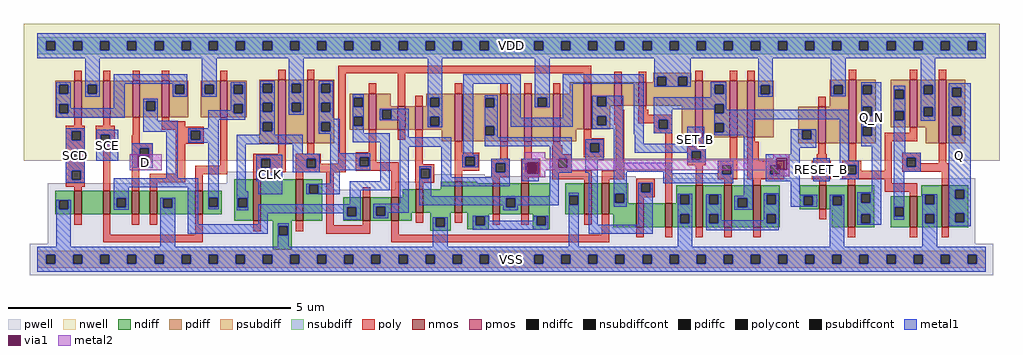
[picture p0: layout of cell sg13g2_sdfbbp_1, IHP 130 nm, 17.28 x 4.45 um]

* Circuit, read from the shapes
.subckt sg13g2_sdfbbp_1 D Q SCD SCE CLK VDD VSS SET_B RESET_B Q_N
XM1 n1 SCD VSS VSS sg13_lv_nmos w=0.42u l=0.13u
XM2 n2 SCE n1 VSS sg13_lv_nmos w=0.42u l=0.13u
XM3 n3 D n2 VSS sg13_lv_nmos w=0.42u l=0.13u
XM4 VSS n4 n3 VSS sg13_lv_nmos w=0.42u l=0.13u
XM5 n4 SCE VSS VSS sg13_lv_nmos w=0.42u l=0.13u
XM6 VSS CLK n5 VSS sg13_lv_nmos w=0.74u l=0.13u
XM7 n6 n5 VSS VSS sg13_lv_nmos w=0.74u l=0.13u
XM8 n7 n5 n2 VSS sg13_lv_nmos w=0.42u l=0.13u
XM9 n8 n6 n7 VSS sg13_lv_nmos w=0.42u l=0.13u
XM10 VSS n9 n8 VSS sg13_lv_nmos w=0.42u l=0.13u
XM11 n10 SET_B VSS VSS sg13_lv_nmos w=0.55u l=0.13u
XM12 n9 n7 n10 VSS sg13_lv_nmos w=0.55u l=0.13u
XM13 n10 n11 n9 VSS sg13_lv_nmos w=0.55u l=0.13u
XM14 n12 n9 VSS VSS sg13_lv_nmos w=0.55u l=0.13u
XM15 n13 n6 n12 VSS sg13_lv_nmos w=0.55u l=0.13u
XM16 n14 n5 n13 VSS sg13_lv_nmos w=0.42u l=0.13u
XM17 VSS n15 n14 VSS sg13_lv_nmos w=0.42u l=0.13u
XM18 n16 SET_B VSS VSS sg13_lv_nmos w=0.74u l=0.13u
XM19 n15 n13 n16 VSS sg13_lv_nmos w=0.74u l=0.13u
XM20 n16 n11 n15 VSS sg13_lv_nmos w=0.74u l=0.13u
XM21 VSS RESET_B n11 VSS sg13_lv_nmos w=0.42u l=0.13u
XM22 Q_N n15 VSS VSS sg13_lv_nmos w=0.74u l=0.13u
XM23 VSS n15 n17 VSS sg13_lv_nmos w=0.55u l=0.13u
XM24 Q n17 VSS VSS sg13_lv_nmos w=0.74u l=0.13u
XM25 VDD SCD n18 VDD sg13_lv_pmos w=0.64u l=0.13u
XM26 n19 SCE VDD VDD sg13_lv_pmos w=0.64u l=0.13u
XM27 n2 D n19 VDD sg13_lv_pmos w=0.64u l=0.13u
XM28 n18 n4 n2 VDD sg13_lv_pmos w=0.64u l=0.13u
XM29 n4 SCE VDD VDD sg13_lv_pmos w=0.64u l=0.13u
XM30 VDD CLK n5 VDD sg13_lv_pmos w=1.12u l=0.13u
XM31 n6 n5 VDD VDD sg13_lv_pmos w=1.12u l=0.13u
XM32 n7 n6 n2 VDD sg13_lv_pmos w=0.64u l=0.13u
XM33 n20 n5 n7 VDD sg13_lv_pmos w=0.42u l=0.13u
XM34 VDD n9 n20 VDD sg13_lv_pmos w=0.42u l=0.13u
XM35 n9 SET_B VDD VDD sg13_lv_pmos w=0.84u l=0.13u
XM36 n21 n7 n9 VDD sg13_lv_pmos w=0.84u l=0.13u
XM37 VDD n11 n21 VDD sg13_lv_pmos w=0.84u l=0.13u
XM38 n22 n9 VDD VDD sg13_lv_pmos w=0.84u l=0.13u
XM39 n13 n5 n22 VDD sg13_lv_pmos w=0.84u l=0.13u
XM40 n23 n6 n13 VDD sg13_lv_pmos w=0.42u l=0.13u
XM41 VDD n15 n23 VDD sg13_lv_pmos w=0.42u l=0.13u
XM42 n15 SET_B VDD VDD sg13_lv_pmos w=1u l=0.13u
XM43 n24 n13 n15 VDD sg13_lv_pmos w=1u l=0.13u
XM44 VDD n11 n24 VDD sg13_lv_pmos w=1u l=0.13u
XM45 VDD RESET_B n11 VDD sg13_lv_pmos w=0.64u l=0.13u
XM46 Q_N n15 VDD VDD sg13_lv_pmos w=1.12u l=0.13u
XM47 VDD n15 n17 VDD sg13_lv_pmos w=0.84u l=0.13u
XM48 Q n17 VDD VDD sg13_lv_pmos w=1.12u l=0.13u
.ends

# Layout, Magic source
magic
tech ihp-sg13g2
magscale 1 2
<< nwell >>
rect -48 350 3408 834
<< pwell >>
rect 672 269 1036 310
rect 1403 295 1585 301
rect 1403 288 2120 295
rect 1403 275 3323 288
rect 38 246 1036 269
rect 1269 246 3323 275
rect 38 56 3323 246
rect -26 -56 3386 56
<< nmos >>
rect 132 159 158 243
rect 234 159 260 243
rect 336 159 362 243
rect 399 159 425 243
rect 560 159 586 243
rect 766 136 792 284
rect 916 136 942 284
rect 1153 136 1179 220
rect 1255 136 1281 220
rect 1341 165 1367 249
rect 1479 165 1505 275
rect 1613 159 1639 269
rect 1715 159 1741 269
rect 1938 159 1964 269
rect 2000 159 2026 269
rect 2122 114 2148 198
rect 2224 114 2250 198
rect 2332 114 2358 262
rect 2434 114 2460 262
rect 2536 114 2562 262
rect 2769 178 2795 262
rect 2871 114 2897 262
rect 3091 114 3117 224
rect 3203 114 3229 262
<< pmos >>
rect 132 504 158 632
rect 234 504 260 632
rect 338 504 364 632
rect 442 504 468 632
rect 648 504 674 632
rect 854 412 880 636
rect 956 412 982 636
rect 1175 459 1201 587
rect 1277 459 1303 543
rect 1339 459 1365 543
rect 1479 419 1505 587
rect 1641 419 1667 587
rect 1725 419 1751 587
rect 1827 419 1853 587
rect 1936 460 1962 628
rect 2044 544 2070 628
rect 2131 544 2157 628
rect 2331 432 2357 632
rect 2453 432 2479 632
rect 2515 432 2541 632
rect 2767 412 2793 540
rect 2875 412 2901 636
rect 3091 468 3117 636
rect 3193 412 3219 636
<< ndiff >>
rect 64 209 132 243
rect 64 177 78 209
rect 110 177 132 209
rect 64 159 132 177
rect 158 159 234 243
rect 260 217 336 243
rect 260 185 282 217
rect 314 185 336 217
rect 260 159 336 185
rect 362 159 399 243
rect 425 215 560 243
rect 425 183 447 215
rect 479 183 560 215
rect 425 159 560 183
rect 586 219 654 243
rect 586 187 608 219
rect 640 187 654 219
rect 586 159 654 187
rect 698 216 766 284
rect 698 184 712 216
rect 744 184 766 216
rect 698 136 766 184
rect 792 136 916 284
rect 942 265 1010 284
rect 942 233 964 265
rect 996 233 1010 265
rect 942 136 1010 233
rect 834 117 902 136
rect 834 85 856 117
rect 888 85 902 117
rect 1429 249 1479 275
rect 1295 220 1341 249
rect 1085 185 1153 220
rect 1085 153 1099 185
rect 1131 153 1153 185
rect 1085 136 1153 153
rect 1179 187 1255 220
rect 1179 155 1201 187
rect 1233 155 1255 187
rect 1179 136 1255 155
rect 1281 165 1341 220
rect 1367 165 1479 249
rect 1505 269 1559 275
rect 1505 165 1613 269
rect 1281 136 1327 165
rect 834 36 902 85
rect 1393 147 1464 165
rect 1393 115 1412 147
rect 1444 115 1464 147
rect 1524 159 1613 165
rect 1639 217 1715 269
rect 1639 185 1661 217
rect 1693 185 1715 217
rect 1639 159 1715 185
rect 1741 159 1815 269
rect 1870 225 1938 269
rect 1870 193 1884 225
rect 1916 193 1938 225
rect 1870 159 1938 193
rect 1964 159 2000 269
rect 2026 232 2094 269
rect 2026 200 2048 232
rect 2080 200 2094 232
rect 2026 198 2094 200
rect 2264 228 2332 262
rect 2264 198 2278 228
rect 2026 159 2122 198
rect 1524 152 1599 159
rect 1393 101 1464 115
rect 1524 120 1553 152
rect 1585 120 1599 152
rect 1755 152 1815 159
rect 1524 106 1599 120
rect 1755 120 1769 152
rect 1801 120 1815 152
rect 1755 106 1815 120
rect 2040 114 2122 159
rect 2148 114 2224 198
rect 2250 196 2278 198
rect 2310 196 2332 228
rect 2250 160 2332 196
rect 2250 128 2278 160
rect 2310 128 2332 160
rect 2250 114 2332 128
rect 2358 228 2434 262
rect 2358 196 2380 228
rect 2412 196 2434 228
rect 2358 160 2434 196
rect 2358 128 2380 160
rect 2412 128 2434 160
rect 2358 114 2434 128
rect 2460 216 2536 262
rect 2460 184 2482 216
rect 2514 184 2536 216
rect 2460 114 2536 184
rect 2562 228 2630 262
rect 2562 196 2584 228
rect 2616 196 2630 228
rect 2562 160 2630 196
rect 2701 224 2769 262
rect 2701 192 2715 224
rect 2747 192 2769 224
rect 2701 178 2769 192
rect 2795 224 2871 262
rect 2795 192 2817 224
rect 2849 192 2871 224
rect 2795 178 2871 192
rect 2562 128 2584 160
rect 2616 128 2630 160
rect 2562 114 2630 128
rect 2814 114 2871 178
rect 2897 233 2965 262
rect 2897 201 2919 233
rect 2951 201 2965 233
rect 3131 228 3203 262
rect 3131 224 3145 228
rect 2897 160 2965 201
rect 2897 128 2919 160
rect 2951 128 2965 160
rect 2897 114 2965 128
rect 3023 185 3091 224
rect 3023 153 3037 185
rect 3069 153 3091 185
rect 3023 114 3091 153
rect 3117 196 3145 224
rect 3177 196 3203 228
rect 3117 160 3203 196
rect 3117 128 3145 160
rect 3177 128 3203 160
rect 3117 114 3203 128
rect 3229 246 3297 262
rect 3229 214 3251 246
rect 3283 214 3297 246
rect 3229 163 3297 214
rect 3229 131 3251 163
rect 3283 131 3297 163
rect 3229 114 3297 131
<< pdiff >>
rect 64 618 132 632
rect 64 586 78 618
rect 110 586 132 618
rect 64 550 132 586
rect 64 518 78 550
rect 110 518 132 550
rect 64 504 132 518
rect 158 618 234 632
rect 158 586 180 618
rect 212 586 234 618
rect 158 504 234 586
rect 260 504 338 632
rect 364 559 442 632
rect 364 527 386 559
rect 418 527 442 559
rect 364 504 442 527
rect 468 618 536 632
rect 468 586 490 618
rect 522 586 536 618
rect 468 504 536 586
rect 580 618 648 632
rect 580 586 594 618
rect 626 586 648 618
rect 580 504 648 586
rect 674 618 742 632
rect 674 586 696 618
rect 728 586 742 618
rect 674 550 742 586
rect 674 518 696 550
rect 728 518 742 550
rect 674 504 742 518
rect 786 622 854 636
rect 786 590 800 622
rect 832 590 854 622
rect 786 554 854 590
rect 786 522 800 554
rect 832 522 854 554
rect 786 486 854 522
rect 786 454 800 486
rect 832 454 854 486
rect 786 412 854 454
rect 880 622 956 636
rect 880 590 902 622
rect 934 590 956 622
rect 880 554 956 590
rect 880 522 902 554
rect 934 522 956 554
rect 880 412 956 522
rect 982 622 1053 636
rect 982 590 1007 622
rect 1039 590 1053 622
rect 982 554 1053 590
rect 982 522 1007 554
rect 1039 522 1053 554
rect 982 486 1053 522
rect 982 454 1007 486
rect 1039 454 1053 486
rect 982 412 1053 454
rect 1107 573 1175 587
rect 1107 541 1121 573
rect 1153 541 1175 573
rect 1107 505 1175 541
rect 1107 473 1121 505
rect 1153 473 1175 505
rect 1107 459 1175 473
rect 1201 543 1252 587
rect 2182 646 2317 660
rect 2182 628 2196 646
rect 1886 587 1936 628
rect 1379 573 1479 587
rect 1379 543 1393 573
rect 1201 529 1277 543
rect 1201 497 1223 529
rect 1255 497 1277 529
rect 1201 459 1277 497
rect 1303 459 1339 543
rect 1365 541 1393 543
rect 1425 541 1479 573
rect 1365 505 1479 541
rect 1365 473 1393 505
rect 1425 473 1479 505
rect 1365 459 1479 473
rect 1433 419 1479 459
rect 1505 570 1641 587
rect 1505 538 1587 570
rect 1619 538 1641 570
rect 1505 471 1641 538
rect 1505 439 1587 471
rect 1619 439 1641 471
rect 1505 419 1641 439
rect 1667 419 1725 587
rect 1751 573 1827 587
rect 1751 541 1773 573
rect 1805 541 1827 573
rect 1751 419 1827 541
rect 1853 460 1936 587
rect 1962 575 2044 628
rect 1962 543 1984 575
rect 2016 544 2044 575
rect 2070 544 2131 628
rect 2157 614 2196 628
rect 2228 614 2271 646
rect 2303 632 2317 646
rect 2303 614 2331 632
rect 2157 544 2331 614
rect 2016 543 2030 544
rect 1962 506 2030 543
rect 1962 474 1984 506
rect 2016 474 2030 506
rect 1962 460 2030 474
rect 1853 419 1910 460
rect 2282 432 2331 544
rect 2357 618 2453 632
rect 2357 586 2399 618
rect 2431 586 2453 618
rect 2357 550 2453 586
rect 2357 518 2399 550
rect 2431 518 2453 550
rect 2357 482 2453 518
rect 2357 450 2399 482
rect 2431 450 2453 482
rect 2357 432 2453 450
rect 2479 432 2515 632
rect 2541 616 2609 632
rect 2541 584 2563 616
rect 2595 584 2609 616
rect 2541 432 2609 584
rect 2807 617 2875 636
rect 2807 585 2821 617
rect 2853 585 2875 617
rect 2807 540 2875 585
rect 2695 458 2767 540
rect 2695 426 2709 458
rect 2741 426 2767 458
rect 2695 412 2767 426
rect 2793 412 2875 540
rect 2901 617 2969 636
rect 2901 585 2923 617
rect 2955 585 2969 617
rect 2901 540 2969 585
rect 2901 508 2923 540
rect 2955 508 2969 540
rect 2901 469 2969 508
rect 2901 437 2923 469
rect 2955 437 2969 469
rect 3023 601 3091 636
rect 3023 569 3037 601
rect 3069 569 3091 601
rect 3023 524 3091 569
rect 3023 492 3037 524
rect 3069 492 3091 524
rect 3023 468 3091 492
rect 3117 617 3193 636
rect 3117 585 3139 617
rect 3171 585 3193 617
rect 3117 538 3193 585
rect 3117 506 3139 538
rect 3171 506 3193 538
rect 3117 468 3193 506
rect 2901 412 2969 437
rect 3147 412 3193 468
rect 3219 608 3287 636
rect 3219 576 3241 608
rect 3273 576 3287 608
rect 3219 540 3287 576
rect 3219 508 3241 540
rect 3273 508 3287 540
rect 3219 472 3287 508
rect 3219 440 3241 472
rect 3273 440 3287 472
rect 3219 412 3287 440
<< ndiffc >>
rect 78 177 110 209
rect 282 185 314 217
rect 447 183 479 215
rect 608 187 640 219
rect 712 184 744 216
rect 964 233 996 265
rect 856 85 888 117
rect 1099 153 1131 185
rect 1201 155 1233 187
rect 1412 115 1444 147
rect 1661 185 1693 217
rect 1884 193 1916 225
rect 2048 200 2080 232
rect 1553 120 1585 152
rect 1769 120 1801 152
rect 2278 196 2310 228
rect 2278 128 2310 160
rect 2380 196 2412 228
rect 2380 128 2412 160
rect 2482 184 2514 216
rect 2584 196 2616 228
rect 2715 192 2747 224
rect 2817 192 2849 224
rect 2584 128 2616 160
rect 2919 201 2951 233
rect 2919 128 2951 160
rect 3037 153 3069 185
rect 3145 196 3177 228
rect 3145 128 3177 160
rect 3251 214 3283 246
rect 3251 131 3283 163
<< pdiffc >>
rect 78 586 110 618
rect 78 518 110 550
rect 180 586 212 618
rect 386 527 418 559
rect 490 586 522 618
rect 594 586 626 618
rect 696 586 728 618
rect 696 518 728 550
rect 800 590 832 622
rect 800 522 832 554
rect 800 454 832 486
rect 902 590 934 622
rect 902 522 934 554
rect 1007 590 1039 622
rect 1007 522 1039 554
rect 1007 454 1039 486
rect 1121 541 1153 573
rect 1121 473 1153 505
rect 1223 497 1255 529
rect 1393 541 1425 573
rect 1393 473 1425 505
rect 1587 538 1619 570
rect 1587 439 1619 471
rect 1773 541 1805 573
rect 1984 543 2016 575
rect 2196 614 2228 646
rect 2271 614 2303 646
rect 1984 474 2016 506
rect 2399 586 2431 618
rect 2399 518 2431 550
rect 2399 450 2431 482
rect 2563 584 2595 616
rect 2821 585 2853 617
rect 2709 426 2741 458
rect 2923 585 2955 617
rect 2923 508 2955 540
rect 2923 437 2955 469
rect 3037 569 3069 601
rect 3037 492 3069 524
rect 3139 585 3171 617
rect 3139 506 3171 538
rect 3241 576 3273 608
rect 3241 508 3273 540
rect 3241 440 3273 472
<< psubdiff >>
rect 834 30 902 36
rect 0 16 3360 30
rect 0 -16 32 16
rect 64 -16 128 16
rect 160 -16 224 16
rect 256 -16 320 16
rect 352 -16 416 16
rect 448 -16 512 16
rect 544 -16 608 16
rect 640 -16 704 16
rect 736 -16 800 16
rect 832 -16 896 16
rect 928 -16 992 16
rect 1024 -16 1088 16
rect 1120 -16 1184 16
rect 1216 -16 1280 16
rect 1312 -16 1376 16
rect 1408 -16 1472 16
rect 1504 -16 1568 16
rect 1600 -16 1664 16
rect 1696 -16 1760 16
rect 1792 -16 1856 16
rect 1888 -16 1952 16
rect 1984 -16 2048 16
rect 2080 -16 2144 16
rect 2176 -16 2240 16
rect 2272 -16 2336 16
rect 2368 -16 2432 16
rect 2464 -16 2528 16
rect 2560 -16 2624 16
rect 2656 -16 2720 16
rect 2752 -16 2816 16
rect 2848 -16 2912 16
rect 2944 -16 3008 16
rect 3040 -16 3104 16
rect 3136 -16 3200 16
rect 3232 -16 3296 16
rect 3328 -16 3360 16
rect 0 -30 3360 -16
<< nsubdiff >>
rect 0 772 3360 786
rect 0 740 32 772
rect 64 740 128 772
rect 160 740 224 772
rect 256 740 320 772
rect 352 740 416 772
rect 448 740 512 772
rect 544 740 608 772
rect 640 740 704 772
rect 736 740 800 772
rect 832 740 896 772
rect 928 740 992 772
rect 1024 740 1088 772
rect 1120 740 1184 772
rect 1216 740 1280 772
rect 1312 740 1376 772
rect 1408 740 1472 772
rect 1504 740 1568 772
rect 1600 740 1664 772
rect 1696 740 1760 772
rect 1792 740 1856 772
rect 1888 740 1952 772
rect 1984 740 2048 772
rect 2080 740 2144 772
rect 2176 740 2240 772
rect 2272 740 2336 772
rect 2368 740 2432 772
rect 2464 740 2528 772
rect 2560 740 2624 772
rect 2656 740 2720 772
rect 2752 740 2816 772
rect 2848 740 2912 772
rect 2944 740 3008 772
rect 3040 740 3104 772
rect 3136 740 3200 772
rect 3232 740 3296 772
rect 3328 740 3360 772
rect 0 726 3360 740
<< psubdiffcont >>
rect 32 -16 64 16
rect 128 -16 160 16
rect 224 -16 256 16
rect 320 -16 352 16
rect 416 -16 448 16
rect 512 -16 544 16
rect 608 -16 640 16
rect 704 -16 736 16
rect 800 -16 832 16
rect 896 -16 928 16
rect 992 -16 1024 16
rect 1088 -16 1120 16
rect 1184 -16 1216 16
rect 1280 -16 1312 16
rect 1376 -16 1408 16
rect 1472 -16 1504 16
rect 1568 -16 1600 16
rect 1664 -16 1696 16
rect 1760 -16 1792 16
rect 1856 -16 1888 16
rect 1952 -16 1984 16
rect 2048 -16 2080 16
rect 2144 -16 2176 16
rect 2240 -16 2272 16
rect 2336 -16 2368 16
rect 2432 -16 2464 16
rect 2528 -16 2560 16
rect 2624 -16 2656 16
rect 2720 -16 2752 16
rect 2816 -16 2848 16
rect 2912 -16 2944 16
rect 3008 -16 3040 16
rect 3104 -16 3136 16
rect 3200 -16 3232 16
rect 3296 -16 3328 16
<< nsubdiffcont >>
rect 32 740 64 772
rect 128 740 160 772
rect 224 740 256 772
rect 320 740 352 772
rect 416 740 448 772
rect 512 740 544 772
rect 608 740 640 772
rect 704 740 736 772
rect 800 740 832 772
rect 896 740 928 772
rect 992 740 1024 772
rect 1088 740 1120 772
rect 1184 740 1216 772
rect 1280 740 1312 772
rect 1376 740 1408 772
rect 1472 740 1504 772
rect 1568 740 1600 772
rect 1664 740 1696 772
rect 1760 740 1792 772
rect 1856 740 1888 772
rect 1952 740 1984 772
rect 2048 740 2080 772
rect 2144 740 2176 772
rect 2240 740 2272 772
rect 2336 740 2368 772
rect 2432 740 2464 772
rect 2528 740 2560 772
rect 2624 740 2656 772
rect 2720 740 2752 772
rect 2816 740 2848 772
rect 2912 740 2944 772
rect 3008 740 3040 772
rect 3104 740 3136 772
rect 3200 740 3232 772
rect 3296 740 3328 772
<< poly >>
rect 132 632 158 668
rect 234 632 260 668
rect 338 632 364 668
rect 442 632 468 668
rect 648 632 674 668
rect 854 636 880 672
rect 956 636 982 672
rect 1067 659 1962 685
rect 132 473 158 504
rect 234 473 260 504
rect 102 454 168 473
rect 102 422 122 454
rect 154 422 168 454
rect 102 384 168 422
rect 207 442 275 473
rect 207 410 225 442
rect 257 410 275 442
rect 338 440 364 504
rect 442 489 468 504
rect 442 469 524 489
rect 442 459 591 469
rect 207 393 275 410
rect 336 411 364 440
rect 491 455 591 459
rect 491 423 545 455
rect 577 423 591 455
rect 336 394 410 411
rect 102 352 122 384
rect 154 352 168 384
rect 102 314 168 352
rect 102 282 122 314
rect 154 282 168 314
rect 102 257 168 282
rect 132 243 158 257
rect 234 243 260 393
rect 336 362 363 394
rect 395 362 410 394
rect 336 345 410 362
rect 491 409 591 423
rect 336 243 362 345
rect 491 303 524 409
rect 648 331 674 504
rect 854 374 880 412
rect 956 374 982 412
rect 399 273 524 303
rect 560 301 674 331
rect 766 357 880 374
rect 766 325 794 357
rect 826 325 880 357
rect 766 308 880 325
rect 916 357 1004 374
rect 916 325 955 357
rect 987 338 1004 357
rect 1067 338 1093 659
rect 1175 587 1201 623
rect 1277 543 1303 659
rect 1936 628 1962 659
rect 2044 628 2070 664
rect 2131 628 2157 664
rect 1479 587 1505 623
rect 1641 587 1667 623
rect 1725 587 1751 623
rect 1827 587 1853 623
rect 1339 543 1365 579
rect 1175 379 1201 459
rect 1277 423 1303 459
rect 987 325 1093 338
rect 916 308 1093 325
rect 1129 362 1201 379
rect 1129 330 1143 362
rect 1175 343 1201 362
rect 1175 330 1281 343
rect 1129 313 1281 330
rect 399 243 425 273
rect 560 243 586 301
rect 766 284 792 308
rect 916 284 942 308
rect 132 123 158 159
rect 234 87 260 159
rect 336 123 362 159
rect 399 123 425 159
rect 560 87 586 159
rect 766 100 792 136
rect 234 61 586 87
rect 916 100 942 136
rect 1024 121 1050 308
rect 1153 220 1179 256
rect 1255 220 1281 313
rect 1339 337 1365 459
rect 2331 632 2357 668
rect 2453 632 2479 668
rect 2515 632 2541 668
rect 2875 636 2901 672
rect 3091 636 3117 672
rect 3193 636 3219 672
rect 2044 529 2070 544
rect 2131 529 2157 544
rect 2044 476 2080 529
rect 2128 512 2164 529
rect 2128 495 2250 512
rect 2128 482 2201 495
rect 1936 428 1962 460
rect 1479 377 1505 419
rect 1479 363 1566 377
rect 1339 320 1407 337
rect 1339 288 1358 320
rect 1390 288 1407 320
rect 1339 271 1407 288
rect 1479 331 1517 363
rect 1549 331 1566 363
rect 1641 357 1667 419
rect 1725 357 1751 419
rect 1827 404 1853 419
rect 1936 411 2008 428
rect 1824 373 1860 404
rect 1936 379 1959 411
rect 1991 379 2008 411
rect 1479 314 1566 331
rect 1608 340 1674 357
rect 1479 275 1505 314
rect 1608 308 1625 340
rect 1657 308 1674 340
rect 1608 291 1674 308
rect 1715 340 1782 357
rect 1715 308 1733 340
rect 1765 308 1782 340
rect 1715 291 1782 308
rect 1824 356 1894 373
rect 1936 362 2008 379
rect 1824 324 1845 356
rect 1877 324 1894 356
rect 1824 314 1894 324
rect 2050 314 2080 476
rect 2184 463 2201 482
rect 2233 463 2250 495
rect 2184 446 2250 463
rect 1341 249 1367 271
rect 1613 269 1639 291
rect 1715 269 1741 291
rect 1824 284 1964 314
rect 1938 269 1964 284
rect 2000 284 2080 314
rect 2000 269 2026 284
rect 2122 269 2188 286
rect 1153 121 1179 136
rect 1024 91 1179 121
rect 1255 87 1281 136
rect 1341 129 1367 165
rect 1479 129 1505 165
rect 2122 237 2139 269
rect 2171 237 2188 269
rect 2122 220 2188 237
rect 2122 198 2148 220
rect 2224 198 2250 446
rect 2767 540 2793 576
rect 2331 400 2357 432
rect 2302 383 2368 400
rect 2302 351 2319 383
rect 2351 351 2368 383
rect 2302 334 2368 351
rect 2453 350 2479 432
rect 2332 262 2358 334
rect 2410 333 2479 350
rect 2410 301 2427 333
rect 2459 301 2479 333
rect 2410 284 2479 301
rect 2515 417 2541 432
rect 2515 350 2556 417
rect 3091 449 3117 468
rect 3001 419 3117 449
rect 2767 373 2793 412
rect 2760 350 2796 373
rect 2875 350 2901 412
rect 2515 333 2646 350
rect 2515 301 2597 333
rect 2629 301 2646 333
rect 2515 284 2646 301
rect 2744 333 2810 350
rect 2744 301 2761 333
rect 2793 301 2810 333
rect 2744 284 2810 301
rect 2852 333 2918 350
rect 2852 301 2869 333
rect 2901 314 2918 333
rect 3001 314 3027 419
rect 2901 301 3027 314
rect 3063 360 3129 377
rect 3063 328 3080 360
rect 3112 341 3129 360
rect 3193 341 3219 412
rect 3112 328 3229 341
rect 3063 311 3229 328
rect 2852 284 3027 301
rect 2434 262 2460 284
rect 2536 262 2562 284
rect 2769 262 2795 284
rect 2871 262 2897 284
rect 3001 269 3027 284
rect 1613 123 1639 159
rect 1715 123 1741 159
rect 1938 123 1964 159
rect 2000 87 2026 159
rect 2769 142 2795 178
rect 3001 239 3117 269
rect 3203 262 3229 311
rect 3091 224 3117 239
rect 1255 61 2026 87
rect 2122 78 2148 114
rect 2224 78 2250 114
rect 2332 78 2358 114
rect 2434 78 2460 114
rect 2536 78 2562 114
rect 2871 78 2897 114
rect 3091 78 3117 114
rect 3203 78 3229 114
<< polycont >>
rect 122 422 154 454
rect 225 410 257 442
rect 545 423 577 455
rect 122 352 154 384
rect 122 282 154 314
rect 363 362 395 394
rect 794 325 826 357
rect 955 325 987 357
rect 1143 330 1175 362
rect 1358 288 1390 320
rect 1517 331 1549 363
rect 1959 379 1991 411
rect 1625 308 1657 340
rect 1733 308 1765 340
rect 1845 324 1877 356
rect 2201 463 2233 495
rect 2139 237 2171 269
rect 2319 351 2351 383
rect 2427 301 2459 333
rect 2597 301 2629 333
rect 2761 301 2793 333
rect 2869 301 2901 333
rect 3080 328 3112 360
<< metal1 >>
rect 0 772 3360 800
rect 0 740 32 772
rect 64 740 128 772
rect 160 740 224 772
rect 256 740 320 772
rect 352 740 416 772
rect 448 740 512 772
rect 544 740 608 772
rect 640 740 704 772
rect 736 740 800 772
rect 832 740 896 772
rect 928 740 992 772
rect 1024 740 1088 772
rect 1120 740 1184 772
rect 1216 740 1280 772
rect 1312 740 1376 772
rect 1408 740 1472 772
rect 1504 740 1568 772
rect 1600 740 1664 772
rect 1696 740 1760 772
rect 1792 740 1856 772
rect 1888 740 1952 772
rect 1984 740 2048 772
rect 2080 740 2144 772
rect 2176 740 2240 772
rect 2272 740 2336 772
rect 2368 740 2432 772
rect 2464 740 2528 772
rect 2560 740 2624 772
rect 2656 740 2720 772
rect 2752 740 2816 772
rect 2848 740 2912 772
rect 2944 740 3008 772
rect 3040 740 3104 772
rect 3136 740 3200 772
rect 3232 740 3296 772
rect 3328 740 3360 772
rect 0 712 3360 740
rect 68 618 120 628
rect 68 586 78 618
rect 110 586 120 618
rect 68 550 120 586
rect 170 618 222 712
rect 170 586 180 618
rect 212 586 222 618
rect 170 576 222 586
rect 271 621 532 655
rect 68 518 78 550
rect 110 535 120 550
rect 271 535 311 621
rect 480 618 532 621
rect 480 586 490 618
rect 522 586 532 618
rect 480 576 532 586
rect 584 618 636 712
rect 584 586 594 618
rect 626 586 636 618
rect 584 576 636 586
rect 686 618 738 628
rect 686 586 696 618
rect 728 586 738 618
rect 110 518 311 535
rect 68 501 311 518
rect 376 559 428 569
rect 376 527 386 559
rect 418 527 428 559
rect 686 550 738 586
rect 686 528 696 550
rect 376 491 428 527
rect 606 518 696 528
rect 728 518 738 550
rect 606 494 738 518
rect 790 622 842 632
rect 790 590 800 622
rect 832 590 842 622
rect 790 554 842 590
rect 790 522 800 554
rect 832 522 842 554
rect 102 454 168 465
rect 102 422 122 454
rect 154 422 168 454
rect 102 384 168 422
rect 102 352 122 384
rect 154 352 168 384
rect 102 314 168 352
rect 210 442 287 459
rect 376 451 499 491
rect 606 465 643 494
rect 210 410 225 442
rect 257 410 287 442
rect 210 350 287 410
rect 336 394 410 411
rect 336 368 363 394
rect 395 368 410 394
rect 336 328 357 368
rect 397 328 410 368
rect 336 324 410 328
rect 102 282 122 314
rect 154 282 168 314
rect 458 288 499 451
rect 535 455 643 465
rect 535 423 545 455
rect 577 423 643 455
rect 790 486 842 522
rect 892 622 944 712
rect 892 590 902 622
rect 934 590 944 622
rect 892 554 944 590
rect 892 522 902 554
rect 934 522 944 554
rect 892 512 944 522
rect 997 622 1049 632
rect 997 590 1007 622
rect 1039 590 1049 622
rect 997 554 1049 590
rect 997 522 1007 554
rect 1039 522 1049 554
rect 790 454 800 486
rect 832 454 842 486
rect 790 442 842 454
rect 997 498 1049 522
rect 1117 573 1157 584
rect 1117 541 1121 573
rect 1153 541 1157 573
rect 1117 505 1157 541
rect 1383 573 1435 712
rect 1383 541 1393 573
rect 1425 541 1435 573
rect 997 486 1072 498
rect 997 454 1007 486
rect 1039 454 1072 486
rect 997 444 1072 454
rect 535 413 643 423
rect 102 271 168 282
rect 272 256 570 288
rect 272 217 324 256
rect 68 209 120 211
rect 68 177 78 209
rect 110 177 120 209
rect 68 44 120 177
rect 272 185 282 217
rect 314 185 324 217
rect 272 175 324 185
rect 437 215 489 219
rect 437 183 447 215
rect 479 183 489 215
rect 437 44 489 183
rect 534 125 570 256
rect 606 219 643 413
rect 606 187 608 219
rect 640 187 643 219
rect 606 177 643 187
rect 707 408 940 442
rect 707 242 739 408
rect 906 374 940 408
rect 1038 376 1072 444
rect 1117 473 1121 505
rect 1153 473 1157 505
rect 1213 529 1316 534
rect 1213 497 1223 529
rect 1255 497 1316 529
rect 1213 493 1316 497
rect 1117 447 1157 473
rect 1117 415 1248 447
rect 777 357 868 370
rect 777 325 794 357
rect 826 325 868 357
rect 777 276 868 325
rect 906 357 1001 374
rect 906 325 955 357
rect 987 325 1001 357
rect 906 308 1001 325
rect 1038 362 1180 376
rect 1038 330 1143 362
rect 1175 330 1180 362
rect 1038 316 1180 330
rect 707 216 748 242
rect 784 231 868 276
rect 1038 267 1072 316
rect 1216 277 1248 415
rect 954 265 1072 267
rect 954 233 964 265
rect 996 233 1072 265
rect 954 231 1072 233
rect 1108 245 1248 277
rect 1284 432 1316 493
rect 1383 505 1435 541
rect 1383 473 1393 505
rect 1425 473 1435 505
rect 1383 468 1435 473
rect 1510 621 1712 655
rect 1284 399 1466 432
rect 707 184 712 216
rect 744 184 748 216
rect 1108 195 1146 245
rect 1284 197 1316 399
rect 707 174 748 184
rect 784 185 1146 195
rect 784 163 1099 185
rect 784 125 816 163
rect 1085 153 1099 163
rect 1131 153 1146 185
rect 1085 140 1146 153
rect 1191 187 1316 197
rect 1354 320 1395 330
rect 1354 288 1358 320
rect 1390 288 1395 320
rect 1354 223 1395 288
rect 1432 291 1466 399
rect 1510 371 1544 621
rect 1585 570 1632 581
rect 1585 538 1587 570
rect 1619 538 1632 570
rect 1585 471 1632 538
rect 1585 439 1587 471
rect 1619 439 1632 471
rect 1678 502 1712 621
rect 1763 573 1815 712
rect 1763 541 1773 573
rect 1805 541 1815 573
rect 1763 539 1815 541
rect 1862 621 2148 655
rect 1862 502 1896 621
rect 1678 469 1896 502
rect 1966 575 2076 579
rect 1966 543 1984 575
rect 2016 543 2076 575
rect 1966 506 2076 543
rect 1966 474 1984 506
rect 2016 474 2076 506
rect 1966 462 2076 474
rect 1585 432 1632 439
rect 1585 400 1894 432
rect 1505 363 1563 371
rect 1505 331 1517 363
rect 1549 331 1563 363
rect 1505 327 1563 331
rect 1608 340 1674 357
rect 1608 308 1625 340
rect 1657 308 1674 340
rect 1608 291 1674 308
rect 1432 259 1674 291
rect 1716 343 1777 357
rect 1716 340 1736 343
rect 1716 308 1733 340
rect 1716 303 1736 308
rect 1776 303 1777 343
rect 1716 276 1777 303
rect 1815 356 1894 400
rect 1815 324 1845 356
rect 1877 324 1894 356
rect 1815 307 1894 324
rect 1942 411 2006 425
rect 1942 379 1959 411
rect 1991 379 2006 411
rect 1942 351 2006 379
rect 1942 307 1986 351
rect 1815 223 1847 307
rect 1354 217 1847 223
rect 1354 191 1661 217
rect 1191 155 1201 187
rect 1233 165 1316 187
rect 1651 185 1661 191
rect 1693 191 1847 217
rect 1883 225 1918 235
rect 1883 193 1884 225
rect 1916 193 1918 225
rect 1693 185 1703 191
rect 1651 174 1703 185
rect 1233 155 1244 165
rect 1191 145 1244 155
rect 1542 152 1601 155
rect 1402 147 1454 149
rect 534 91 816 125
rect 852 117 892 127
rect 852 85 856 117
rect 888 85 892 117
rect 852 44 892 85
rect 1402 115 1412 147
rect 1444 115 1454 147
rect 1402 44 1454 115
rect 1542 120 1553 152
rect 1585 136 1601 152
rect 1759 152 1811 155
rect 1759 136 1769 152
rect 1585 120 1769 136
rect 1801 120 1811 152
rect 1542 104 1811 120
rect 1883 44 1918 193
rect 1954 123 1986 307
rect 2042 342 2076 462
rect 2113 443 2148 621
rect 2185 646 2314 712
rect 2185 614 2196 646
rect 2228 614 2271 646
rect 2303 614 2314 646
rect 2185 611 2314 614
rect 2386 618 2441 629
rect 2386 586 2399 618
rect 2431 586 2441 618
rect 2386 574 2441 586
rect 2553 616 2605 712
rect 2553 584 2563 616
rect 2595 584 2605 616
rect 2553 576 2605 584
rect 2811 617 2863 712
rect 2811 585 2821 617
rect 2853 585 2863 617
rect 2811 577 2863 585
rect 2918 617 2990 627
rect 2918 585 2923 617
rect 2955 585 2990 617
rect 3129 617 3181 712
rect 2184 550 2441 574
rect 2184 532 2399 550
rect 2184 495 2250 532
rect 2184 463 2201 495
rect 2233 463 2250 495
rect 2398 518 2399 532
rect 2431 529 2441 550
rect 2918 540 2990 585
rect 2431 518 2875 529
rect 2398 497 2875 518
rect 2398 482 2534 497
rect 2184 446 2250 463
rect 2116 410 2148 443
rect 2302 410 2362 470
rect 2398 450 2399 482
rect 2431 450 2534 482
rect 2398 439 2534 450
rect 2116 400 2362 410
rect 2116 383 2368 400
rect 2116 378 2319 383
rect 2302 351 2319 378
rect 2351 351 2368 383
rect 2302 344 2368 351
rect 2042 310 2250 342
rect 2042 232 2088 310
rect 2217 305 2250 310
rect 2410 333 2466 350
rect 2410 305 2427 333
rect 2217 301 2427 305
rect 2459 301 2466 333
rect 2042 200 2048 232
rect 2080 200 2088 232
rect 2042 187 2088 200
rect 2129 269 2181 272
rect 2217 269 2466 301
rect 2129 237 2139 269
rect 2171 237 2181 269
rect 2129 123 2181 237
rect 1954 91 2181 123
rect 2268 228 2320 232
rect 2268 196 2278 228
rect 2310 196 2320 228
rect 2268 160 2320 196
rect 2268 128 2278 160
rect 2310 128 2320 160
rect 2268 44 2320 128
rect 2370 228 2422 231
rect 2370 196 2380 228
rect 2412 196 2422 228
rect 2502 225 2534 439
rect 2668 458 2759 461
rect 2668 426 2709 458
rect 2741 426 2759 458
rect 2668 395 2759 426
rect 2668 373 2700 395
rect 2580 358 2700 373
rect 2580 333 2617 358
rect 2580 301 2597 333
rect 2657 318 2700 358
rect 2629 301 2700 318
rect 2580 276 2700 301
rect 2748 333 2807 358
rect 2748 301 2761 333
rect 2793 301 2807 333
rect 2748 276 2807 301
rect 2843 350 2875 497
rect 2918 508 2923 540
rect 2955 508 2990 540
rect 2918 469 2990 508
rect 2918 437 2923 469
rect 2955 437 2990 469
rect 2918 401 2990 437
rect 2843 333 2910 350
rect 2843 301 2869 333
rect 2901 301 2910 333
rect 2843 284 2910 301
rect 2370 160 2422 196
rect 2468 216 2534 225
rect 2468 184 2482 216
rect 2514 184 2534 216
rect 2468 175 2534 184
rect 2574 228 2626 234
rect 2574 196 2584 228
rect 2616 196 2626 228
rect 2370 128 2380 160
rect 2412 139 2422 160
rect 2574 160 2626 196
rect 2668 228 2700 276
rect 2956 238 2990 401
rect 2904 233 2990 238
rect 2668 224 2763 228
rect 2668 192 2715 224
rect 2747 192 2763 224
rect 2668 186 2763 192
rect 2807 224 2859 228
rect 2807 192 2817 224
rect 2849 192 2859 224
rect 2574 139 2584 160
rect 2412 128 2584 139
rect 2616 128 2626 160
rect 2370 103 2626 128
rect 2807 44 2859 192
rect 2904 201 2919 233
rect 2951 201 2990 233
rect 2904 160 2990 201
rect 2904 128 2919 160
rect 2951 128 2990 160
rect 3034 601 3075 614
rect 3034 569 3037 601
rect 3069 569 3075 601
rect 3034 524 3075 569
rect 3034 492 3037 524
rect 3069 492 3075 524
rect 3034 377 3075 492
rect 3129 585 3139 617
rect 3171 585 3181 617
rect 3129 538 3181 585
rect 3129 506 3139 538
rect 3171 506 3181 538
rect 3129 491 3181 506
rect 3229 608 3307 624
rect 3229 576 3241 608
rect 3273 576 3307 608
rect 3229 540 3307 576
rect 3229 508 3241 540
rect 3273 508 3307 540
rect 3229 472 3307 508
rect 3229 440 3241 472
rect 3273 440 3307 472
rect 3034 360 3129 377
rect 3034 328 3080 360
rect 3112 328 3129 360
rect 3034 311 3129 328
rect 3034 185 3071 311
rect 3229 246 3307 440
rect 3034 153 3037 185
rect 3069 153 3071 185
rect 3034 141 3071 153
rect 3135 228 3187 231
rect 3135 196 3145 228
rect 3177 196 3187 228
rect 3135 160 3187 196
rect 2904 122 2990 128
rect 3135 128 3145 160
rect 3177 128 3187 160
rect 3135 44 3187 128
rect 3229 214 3251 246
rect 3283 214 3307 246
rect 3229 163 3307 214
rect 3229 131 3251 163
rect 3283 131 3307 163
rect 3229 118 3307 131
rect 0 16 3360 44
rect 0 -16 32 16
rect 64 -16 128 16
rect 160 -16 224 16
rect 256 -16 320 16
rect 352 -16 416 16
rect 448 -16 512 16
rect 544 -16 608 16
rect 640 -16 704 16
rect 736 -16 800 16
rect 832 -16 896 16
rect 928 -16 992 16
rect 1024 -16 1088 16
rect 1120 -16 1184 16
rect 1216 -16 1280 16
rect 1312 -16 1376 16
rect 1408 -16 1472 16
rect 1504 -16 1568 16
rect 1600 -16 1664 16
rect 1696 -16 1760 16
rect 1792 -16 1856 16
rect 1888 -16 1952 16
rect 1984 -16 2048 16
rect 2080 -16 2144 16
rect 2176 -16 2240 16
rect 2272 -16 2336 16
rect 2368 -16 2432 16
rect 2464 -16 2528 16
rect 2560 -16 2624 16
rect 2656 -16 2720 16
rect 2752 -16 2816 16
rect 2848 -16 2912 16
rect 2944 -16 3008 16
rect 3040 -16 3104 16
rect 3136 -16 3200 16
rect 3232 -16 3296 16
rect 3328 -16 3360 16
rect 0 -44 3360 -16
<< via1 >>
rect 357 362 363 368
rect 363 362 395 368
rect 395 362 397 368
rect 357 328 397 362
rect 1736 340 1776 343
rect 1736 308 1765 340
rect 1765 308 1776 340
rect 1736 303 1776 308
rect 2617 333 2657 358
rect 2617 318 2629 333
rect 2629 318 2657 333
<< metal2 >>
rect 329 368 441 372
rect 329 328 357 368
rect 397 328 441 368
rect 329 316 441 328
rect 1727 356 1800 380
rect 2606 358 2664 373
rect 2606 356 2617 358
rect 1727 343 2617 356
rect 1727 303 1736 343
rect 1776 318 2617 343
rect 2657 318 2664 358
rect 1776 316 2664 318
rect 1776 303 1800 316
rect 1727 291 1800 303
rect 2606 294 2664 316
<< labels >>
flabel metal2 s 329 316 441 372 0 FreeSans 400 0 0 0 D
port 1 nsew
flabel metal1 s 3229 118 3307 620 0 FreeSans 400 0 0 0 Q
port 3 nsew
flabel metal1 s 102 272 168 464 0 FreeSans 400 0 0 0 SCD
port 4 nsew
flabel metal1 s 210 350 286 458 0 FreeSans 400 0 0 0 SCE
port 5 nsew
flabel metal1 s 784 232 868 370 0 FreeSans 400 0 0 0 CLK
port 6 nsew
flabel metal1 s 0 712 3360 800 0 FreeSans 400 0 0 0 VDD
port 7 nsew
flabel metal1 s 0 -44 3360 44 0 FreeSans 400 0 0 0 VSS
port 8 nsew
flabel metal1 s 2302 378 2362 470 0 FreeSans 400 0 0 0 SET_B
port 9 nsew
flabel metal1 s 2748 276 2807 358 0 FreeSans 400 0 0 0 RESET_B
port 10 nsew
flabel metal1 s 2918 401 2990 607 0 FreeSans 400 0 0 0 Q_N
port 11 nsew
<< properties >>
string FIXED_BBOX 0 0 3360 756
<< end >>
